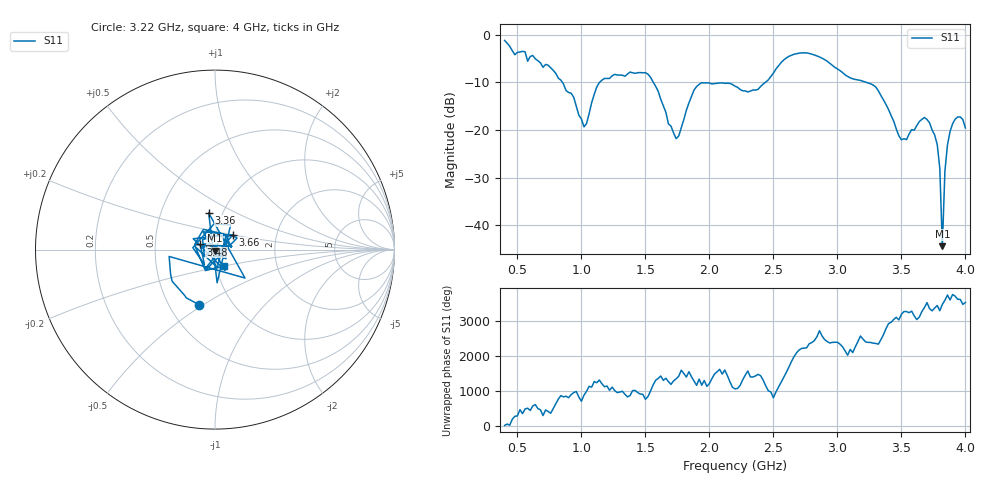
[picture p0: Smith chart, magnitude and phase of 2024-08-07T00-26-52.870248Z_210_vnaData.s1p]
!Created with skrf (http://scikit-rf.org).
# Hz S RI R 50.0
!freq ReS11 ImS11
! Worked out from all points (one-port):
!   181 points, 400 MHz to 4 GHz, reference 50 ohm
!   lowest |S11| = -44.4 dB at 3.82 GHz (marker M1), VSWR 1.01, Z = 49.7 - j0.536 ohm
!   |S11| at or under -10 dB: 852.2 MHz to 1.141 GHz (288.3 MHz wide, 28.9 % of centre); 1.562 GHz to 2.436 GHz (874 MHz wide, 43.7 % of centre); 3.23 GHz to end of sweep
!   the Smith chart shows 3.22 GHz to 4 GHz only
!   S11 on the Smith chart (normalised r, x): 3.22 GHz: 0.70, -0.48; 3.36 GHz: 0.86, +0.37; 3.48 GHz: 0.85, +0.05; 3.66 GHz: 1.20, +0.20; 4 GHz: 1.09, -0.20
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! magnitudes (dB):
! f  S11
! 400 MHz  -1.2
! 860 MHz  -10.3
! 940 MHz  -13.1
! 1.02 GHz  -19.3
! 1.14 GHz  -10.0
! 1.3 GHz  -8.4
! 1.52 GHz  -8.3
! 1.68 GHz  -18.7
! 1.76 GHz  -21.3
! 1.9 GHz  -10.9
! 2.2 GHz  -10.8
! 2.38 GHz  -11.4
! 2.66 GHz  -4.1
! 2.86 GHz  -4.6
! 3.1 GHz  -9.0
! 3.22 GHz  -9.9
! 3.36 GHz  -13.7
! 3.48 GHz  -21.2
! 3.56 GHz  -20.8
! 3.66 GHz  -17.7
! 3.72 GHz  -18.5
! 3.78 GHz  -23.0
! 3.8 GHz  -28.0
! 3.82 GHz  -44.4
! 3.84 GHz  -28.6
! 3.88 GHz  -20.3
! 3.94 GHz  -17.2
! 4 GHz  -19.6
